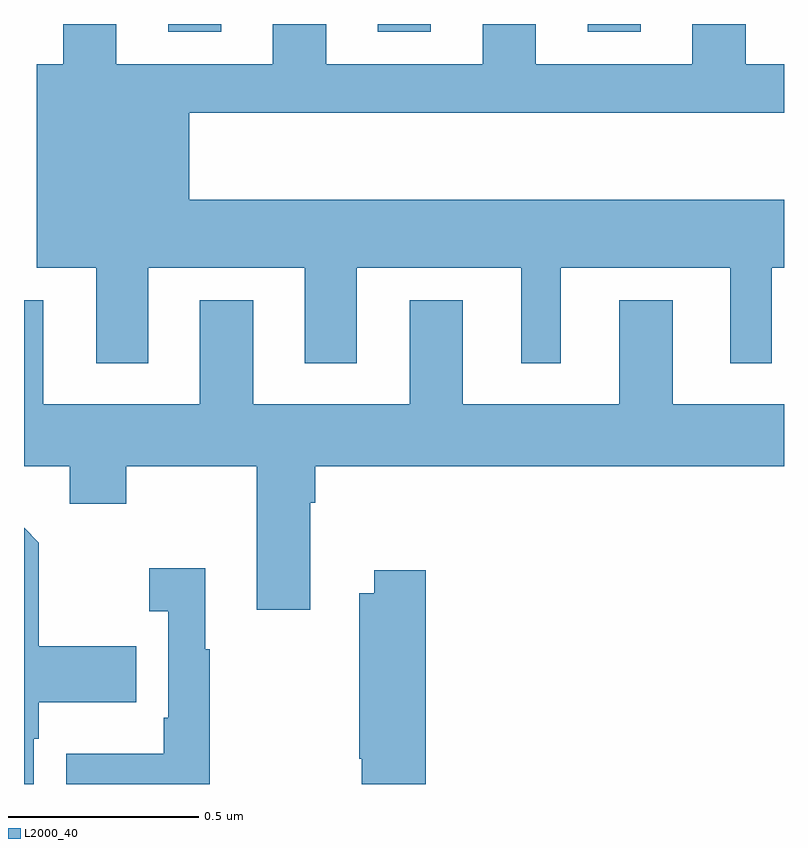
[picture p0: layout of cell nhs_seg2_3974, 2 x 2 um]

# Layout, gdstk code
import gdstk
lib = gdstk.Library(unit=1e-6, precision=1e-09)
def R(c, l, rs):  # rectangles x0, y0, x1, y1
    for r in rs: c.add(gdstk.rectangle(r[:2], r[2:], *l))
def A(c, l, x, y, w, h, nx, ny, dx, dy):  # array of equal rectangles
    R(c, l, [(x+i*dx, y+j*dy, x+i*dx+w, y+j*dy+h) for i in range(nx) for j in range(ny)])
def P(c, l, *ps):  # polygons
    for p in ps: c.add(gdstk.Polygon(p, *l))
L2000_40 = (2000, 40)

nhs_seg2_3974 = lib.new_cell('nhs_seg2_3974')
A(nhs_seg2_3974, L2000_40, 160.379, 648.779, 0.14, 0.021, 3, 1, 0.552, 0)
P(nhs_seg2_3974, L2000_40, [(160.327,648.158),(160.739,648.158),(160.739,647.907),(160.876,647.907),(160.876,648.158),(161.309,648.158),(161.309,647.907),(161.413,647.907),(161.413,648.158),(161.858,648.158),(161.858,647.907),(161.968,647.907),(161.968,648.158),(162,648.158),(162,648.337),(160.435,648.337),(160.435,648.566),(162,648.566),(162,648.694),(161.899,648.694),(161.899,648.8),(161.759,648.8),(161.759,648.694),(161.347,648.694),(161.347,648.8),(161.207,648.8),(161.207,648.694),(160.795,648.694),(160.795,648.8),(160.655,648.8),(160.655,648.694),(160.243,648.694),(160.243,648.8),(160.103,648.8),(160.103,648.694),(160.034,648.694),(160.034,648.158),(160.19,648.158),(160.19,647.907),(160.327,647.907)],
  [(160.753,647.54),(160.766,647.54),(160.766,647.636),(162,647.636),(162,647.8),(161.707,647.8),(161.707,648.073),(161.567,648.073),(161.567,647.8),(161.155,647.8),(161.155,648.073),(161.015,648.073),(161.015,647.8),(160.603,647.8),(160.603,648.073),(160.463,648.073),(160.463,647.8),(160.051,647.8),(160.051,648.073),(160,648.073),(160,647.636),(160.121,647.636),(160.121,647.537),(160.269,647.537),(160.269,647.636),(160.613,647.636),(160.613,647.259),(160.753,647.259)],
  [(160.026,646.919),(160.039,646.919),(160.039,647.015),(160.295,647.015),(160.295,647.163),(160.039,647.163),(160.039,647.435),(160,647.474),(160,646.8),(160.026,646.8)],
  [(160.489,647.155),(160.477,647.155),(160.477,647.368),(160.329,647.368),(160.329,647.255),(160.38,647.255),(160.38,646.975),(160.368,646.975),(160.368,646.879),(160.111,646.879),(160.111,646.8),(160.489,646.8)],
  [(161.057,647.362),(160.922,647.362),(160.922,647.302),(160.882,647.302),(160.882,646.867),(160.889,646.867),(160.889,646.8),(161.057,646.8)])

lib.write_gds('nhs_seg2_3974.gds')
